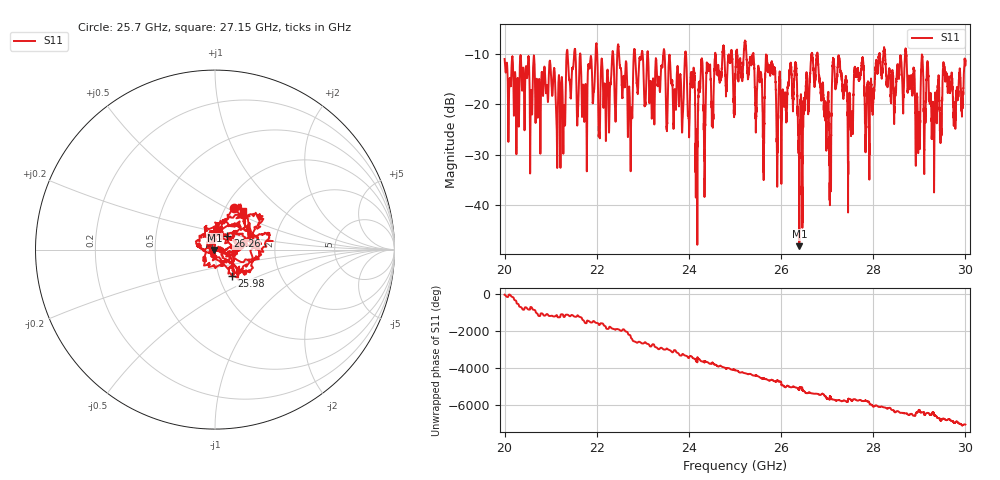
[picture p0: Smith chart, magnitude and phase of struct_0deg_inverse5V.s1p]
#  HZ  S  RI  R  50.00
! Rohde & Schwarz ZVA40 4Ports - Version 3.90 - 1145.1110k42 SN: 100403
! Date: 2023-09-28 09:05:14
! Measurement: S22
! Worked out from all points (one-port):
!   5001 points, 20 GHz to 30 GHz, reference 50 ohm
!   lowest |S11| = -48.1 dB at 26.4 GHz (marker M1), VSWR 1.01, Z = 49.7 - j0.212 ohm
!   |S11| at or under -10 dB: start of sweep to 21.35 GHz; 26.79 GHz to 28.13 GHz (1.341 GHz wide, 4.88 % of centre); 28.71 GHz to end of sweep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
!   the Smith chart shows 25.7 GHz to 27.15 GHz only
!   S11 on the Smith chart (normalised r, x): 25.7 GHz: 1.09, +0.54; 25.98 GHz: 1.15, -0.34; 26.26 GHz: 1.14, +0.17; 27.15 GHz: 1.23, +0.56
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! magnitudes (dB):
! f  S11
! 20 GHz  -11.0
! 21.25 GHz  -15.8
! 21.5 GHz  -10.7
! 21.75 GHz  -17.6
! 22.5 GHz  -12.3
! 22.72 GHz  -20.3
! 22.96 GHz  -11.0
! 23.75 GHz  -12.6
! 24.08 GHz  -16.7
! 24.18 GHz  -34.7
! 24.26 GHz  -13.1
! 25 GHz  -16.5
! 25.61 GHz  -25.2
! 25.7 GHz  -11.9
! 25.98 GHz  -15.3
! 26.25 GHz  -18.9
! 26.26 GHz  -19.9
! 26.4 GHz  -48.1
! 26.79 GHz  -10.7
! 27.04 GHz  -21.6
! 27.15 GHz  -11.6
! 27.5 GHz  -20.8
! 27.75 GHz  -11.7
! 27.87 GHz  -16.3
! 28.1 GHz  -12.3
! 28.75 GHz  -17.7
! 29.3 GHz  -21.7
! 30 GHz  -11.4
